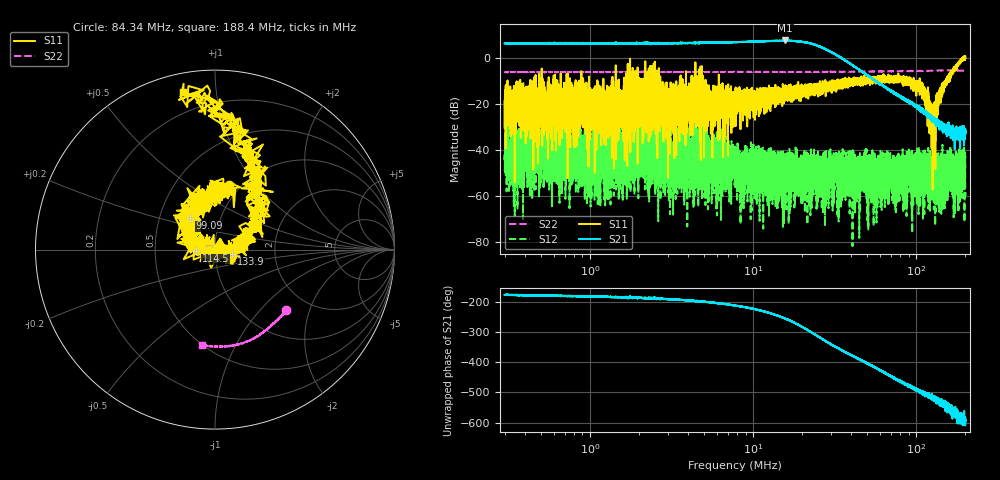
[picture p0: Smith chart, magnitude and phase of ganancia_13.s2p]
# Hz S DB R 50
! CMT, M5065, 19127446, 24.2.4/2
! Date: 11/1/2024 3:14:45 PM
! Data: Format (Calibration Info)
! Freq	S11:dB/Ang(F2)	S21:dB/Ang(F2)	S12:dB/Ang(F2)	S22:dB/Ang(F2)
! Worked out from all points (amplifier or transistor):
!   9000 points, 300 kHz to 200 MHz, reference 50 ohm
!   highest |S21| = 7.7 dB at 15.72 MHz (marker M1)
!   |S21| within 3 dB of that: start of sweep to 26.15 MHz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
!   unconditionally stable (mu >= 1): start of sweep to 192 MHz; 192.2 MHz to 193.2 MHz; 195.537 MHz to 195.8809 MHz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
!   at 886.8 kHz: K = 13.77, MAG = 7.8 dB, |S12| = -37.9 dB
!   at 7.749 MHz: K = 31.00, MAG = 8.4 dB, |S12| = -45.7 dB
!   at 200 MHz: K = -170.29, MSG = 13.4 dB, |S12| = -58.3 dB
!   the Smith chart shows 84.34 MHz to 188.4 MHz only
!   S11 on the Smith chart (normalised r, x): 84.34 MHz: 0.88, +0.74; 99.09 MHz: 0.71, +0.26; 114.5 MHz: 0.81, -0.01; 133.9 MHz: 1.20, -0.06; 188.4 MHz: 0.09, +0.81
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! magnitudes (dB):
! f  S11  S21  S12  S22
! 300 kHz  -18.7  6.4  -41.8  -6.0
! 886.8 kHz  -19.9  6.5  -37.9  -6.0
! 1.18 MHz  -20.6  6.4  -51.7  -6.0
! 1.26 MHz  -18.0  6.4  -56.1  -6.1
! 1.762 MHz  -24.1  6.5  -41.5  -6.0
! 2.621 MHz  -17.0  6.5  -70.9  -6.1
! 3.134 MHz  -30.5  6.5  -43.8  -6.0
! 3.533 MHz  -14.8  6.5  -53.5  -6.0
! 4.81 MHz  -21.9  6.6  -49.5  -6.0
! 7.749 MHz  -13.6  7.0  -45.7  -6.0
! 15.72 MHz  -11.9  7.7  -52.2  -6.0
! 22.91 MHz  -14.7  6.2  -53.3  -6.0
! 67.71 MHz  -9.2  -13.7  -52.1  -5.7
! 84.34 MHz  -8.7  -18.2  -49.9  -5.6
! 99.09 MHz  -13.0  -20.7  -56.4  -5.6
! 114.5 MHz  -19.5  -23.0  -47.4  -5.5
! 126.8 MHz  -30.7  -25.8  -55.7  -5.4
! 133.9 MHz  -20.3  -27.7  -56.3  -5.4
! 151 MHz  -11.3  -32.0  -57.0  -5.3
! 188.4 MHz  -1.0  -33.0  -42.6  -5.4
! 193.5 MHz  0.0  -32.8  -55.7  -5.4
! 200 MHz  0.1  -31.5  -58.3  -5.4
